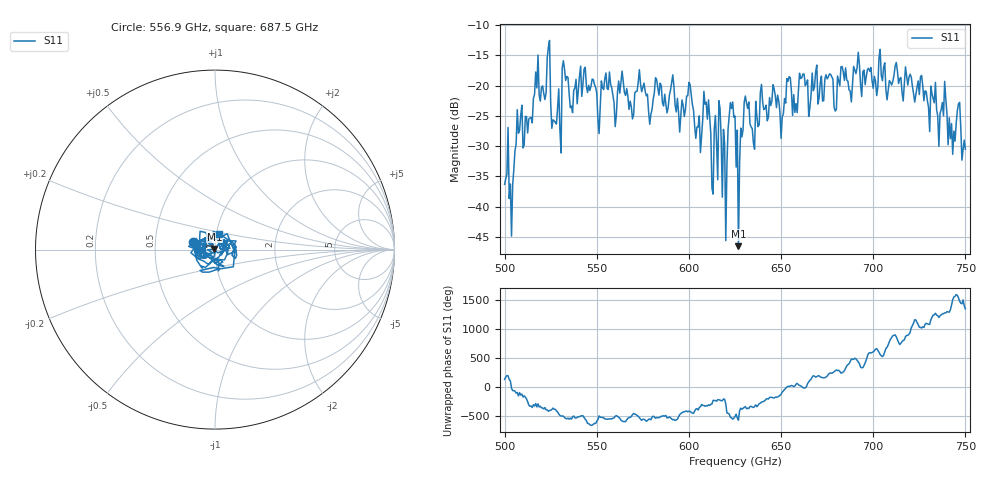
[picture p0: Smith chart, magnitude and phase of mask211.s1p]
!Created with skrf (http://scikit-rf.org).
# GHz S MA R 50.0
!freq magS11 angS11
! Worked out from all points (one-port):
!   401 points, 500 GHz to 750 GHz, reference 50 ohm
!   lowest |S11| = -46.5 dB at 626.9 GHz (marker M1), VSWR 1.01, Z = 49.6 + j0.28 ohm
!   |S11| at or under -10 dB: start of sweep to end of sweep
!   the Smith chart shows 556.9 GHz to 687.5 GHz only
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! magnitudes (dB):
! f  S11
! 500 GHz  -36.3
! 503.8 GHz  -44.9
! 508.1 GHz  -27.4
! 513.8 GHz  -25.4
! 516.9 GHz  -17.8
! 523.8 GHz  -13.6
! 526.9 GHz  -25.8
! 531.2 GHz  -17.1
! 562.5 GHz  -21.3
! 593.8 GHz  -22.1
! 600 GHz  -19.5
! 605 GHz  -26.9
! 609.4 GHz  -22.8
! 612.5 GHz  -37.0
! 617.5 GHz  -28.7
! 619.4 GHz  -29.6
! 622.5 GHz  -22.8
! 625 GHz  -25.0
! 626.9 GHz  -46.5
! 631.2 GHz  -22.9
! 634.4 GHz  -27.1
! 640 GHz  -22.7
! 656.2 GHz  -24.9
! 687.5 GHz  -20.9
! 718.8 GHz  -19.9
! 743.1 GHz  -31.4
! 746.2 GHz  -23.0
! 750 GHz  -30.5
